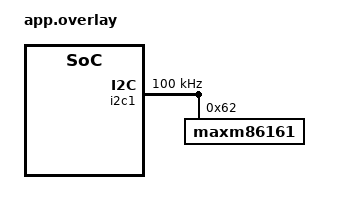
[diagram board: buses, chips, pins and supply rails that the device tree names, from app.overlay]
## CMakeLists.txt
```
cmake_minimum_required(VERSION 3.20.0)
find_package(Zephyr REQUIRED HINTS $ENV{ZEPHYR_BASE})
project(maxm86161a_communication_test)
target_sources(app PRIVATE src/main.cpp)
```

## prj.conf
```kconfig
CONFIG_CPP=y
CONFIG_I2C=y
CONFIG_SERIAL=y
CONFIG_CONSOLE=y
CONFIG_UART_CONSOLE=y
CONFIG_PRINTK=y
CONFIG_UART_LINE_CTRL=y

# USB console: nRF Connect SDK v3.4.0 / XIAO BLE board defaults.
CONFIG_USB_DEVICE_STACK_NEXT=y
CONFIG_CDC_ACM_SERIAL_INITIALIZE_AT_BOOT=y
CONFIG_BUILD_OUTPUT_UF2=y
```

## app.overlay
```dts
#include <zephyr/dt-bindings/i2c/i2c.h>

/* XIAO header: D4/SDA = P0.04, D5/SCL = P0.05.
 * The board supplies i2c1 pinctrl; no custom sensor driver is needed.
 */
&i2c1 {
    status = "okay";
    clock-frequency = <I2C_BITRATE_STANDARD>;

    maxm86161: maxm86161@62 {
        reg = <0x62>;
        status = "okay";
    };
};
```

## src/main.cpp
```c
#include <stdint.h>
#include <zephyr/kernel.h>
#include <zephyr/device.h>
#include <zephyr/drivers/i2c.h>
#include <zephyr/drivers/uart.h>
#include <zephyr/sys/printk.h>

static const struct i2c_dt_spec sensor = I2C_DT_SPEC_GET(DT_NODELABEL(maxm86161));

int main(void)
{

    const struct device *console = DEVICE_DT_GET(DT_CHOSEN(zephyr_console));
    if (!device_is_ready(console)) {
        return 0;
    }

    uint32_t dtr = 0;
    while (dtr == 0) {
        int ret = uart_line_ctrl_get(console, UART_LINE_CTRL_DTR, &dtr);
        if (ret != 0) {
            break;
        }
        k_msleep(100);
    }
    k_msleep(200);

    printk("\nMAXM86161A communication test\n");
    printk("Bus: %s; device address: 0x%02x\n",
           sensor.bus->name, (unsigned int)sensor.addr);

    if (!i2c_is_ready_dt(&sensor)) {
        printk("FAIL: Nordic I2C controller is not ready\n");
        return 0;
    }

    printk("I2C controller ready; reading PART_ID register 0xFF\n");

    while (true) {
        uint8_t part_id = 0;
        int ret = i2c_reg_read_byte_dt(&sensor, 0xFF, &part_id);

        if (ret != 0) {
            printk("FAIL: read at 0x62 failed; error=%d\n", ret);
        } else if (part_id == 0x36) {
            printk("PASS: I2C read succeeded; PART_ID=0x36 (expected)\n");
        } else {
            printk("MISMATCH: I2C read succeeded; PART_ID=0x%02x; expected 0x36\n",
                   (unsigned int)part_id);
        }
        k_msleep(2000);
    }
}
```

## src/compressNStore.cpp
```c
#include <vector>
#include <cmath>
#include <cstdint>
#include <cstring>

#include "compressNStore.hpp"

#include <zephyr/device.h>
#include <zephyr/drivers/flash.h>

#define FLASH_NODE DT_NODELABEL(p25q16h)

/* ===== USER INPUTS ===== */
const int NUM_DECIMALS = 3;
const int ZERO_TOL = 0.01;
const int BUFFER_SIZE = 512;
/* =======================*/

std::vector<int16_t> compressDataRow(std::vector<double> data) {
    std::vector<int16_t> newData(data.size());
    for (int i = 0; i < data.size(); i++) {
        if (data[i] <= ZERO_TOL) {newData[i] = 0;}
        newData[i] = (int16_t) (data[i] * pow(10, NUM_DECIMALS));
    }
    return newData;
}

// int16_t[dynamic] zeroRunLengthEncoding(std::vectpr<int> data) {
    
// }

uint16_t zigzag(int16_t num) {
    if (num < 0) return (uint16_t)(-2 * num - 1);
    else return (uint16_t)(2 * num);
}

std::vector<uint16_t> differenceEncoding(std::vector<int16_t> data) {
    // Difference encoding - worth doing?
    std::vector<uint16_t> newData(data.size());
    newData[0] = zigzag(data[0]);
    for (int i = 1; i < BUFFER_SIZE; i++) {
        newData[i] = zigzag(data[i] - data[i-1]);
        // newData[i] = zigzag(data[i]);
    }
    return newData;
}

int compressDataCol(std::vector<int16_t> data) {
    std::vector<uint16_t> encData = differenceEncoding(data);

    int pos = 0;
    uint8_t buffer[BUFFER_SIZE];
    bool cont = false;
    uint16_t d;
    int storedBlocks = 0;

    for (int i = 0; i < encData.size(); i++) {
        d = data[i];
        if ((d >> 7) > 0) cont = true;
        if ((d >= 32768 && pos == BUFFER_SIZE - 2) || (d >= 128 && pos == BUFFER_SIZE - 1)) {
            cont = false;
            pos = BUFFER_SIZE;
        }
        while (cont) {
            buffer[pos] = (d & ((1 << 7) - 1)) + pow(2,7);
            pos++;
            d = d >> 7;
            if (d <= 0) break;
        }
        if (pos == BUFFER_SIZE) {
            // Store data
            storedBlocks++;
            pos = 0;
            memset(buffer, 0, sizeof(buffer));
        }
    }   

    int totalBytes = (storedBlocks * BUFFER_SIZE) + pos;
    return totalBytes;
}

static const struct device *flash_dev = DEVICE_DT_GET(FLASH_NODE);
static uint32_t flash_addr = 0;

void save_data(uint8_t buffer[BUFFER_SIZE])
{
    flash_write(flash_dev, flash_addr, buffer, BUFFER_SIZE);
    flash_addr += BUFFER_SIZE;
}
```

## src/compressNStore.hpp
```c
#pragma once

std::vector<int16_t> compressDataRow(std::vector<double> data);
uint16_t zigzag(int16_t num);
std::vector<uint16_t> differenceEncoding(std::vector<int16_t> data);
int compressDataCol(std::vector<int16_t> data);
void storeData();
```

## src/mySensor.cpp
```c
#include "mySensor.hpp"

#include <zephyr/device.h>
#include <zephyr/devicetree.h>
#include <zephyr/drivers/sensor.h>
#include <zephyr/drivers/i2c.h>

std::vector<MySensor*> MySensor::sensorList;

void NordBoardInternal::readData() {   
    struct sensor_value odr;
        odr.val1 = 104;
        odr.val2 = 0;

    sensor_attr_set(imu, SENSOR_CHAN_ACCEL_XYZ,
                    SENSOR_ATTR_SAMPLING_FREQUENCY, &odr);

    sensor_attr_set(imu, SENSOR_CHAN_GYRO_XYZ,
                    SENSOR_ATTR_SAMPLING_FREQUENCY, &odr);
    
    sensor_sample_fetch(imu);
    sensor_channel_get(imu, SENSOR_CHAN_ACCEL_XYZ, accel);
    sensor_channel_get(imu, SENSOR_CHAN_GYRO_XYZ, gyro);

    setData(
        sensor_value_to_double(&accel[0]),
        sensor_value_to_double(&accel[1]),
        sensor_value_to_double(&accel[2]),
        sensor_value_to_double(&gyro[0]),
        sensor_value_to_double(&gyro[1]),
        sensor_value_to_double(&gyro[2])
    );

    gravRemover();
}
void NordBoardInternal::gravRemover() {
    gravity[0] = a * accel_x + (1-a) * gravity[0];
    gravity[1] = a * accel_y + (1-a) * gravity[1];
    gravity[2] = a * accel_z + (1-a) * gravity[2];

    double newAx = accel_x - gravity[0];
    double newAy = accel_y - gravity[1];
    double newAz = accel_z - gravity[2];

    setData(newAx, newAy, newAz, gyro_x, gyro_y, gyro_z);
}
void I2CDevice::readRawData() {
    const struct device* bus = DEVICE_DT_GET(DT_NODELABEL(i2c0));
    i2c_burst_read(bus, address, reg, data, numBytes);
}

/*
void PPGSensor::readData() {
    readRawData();
    // idk yet work harder archit
}
*/
```

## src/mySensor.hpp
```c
#pragma once

#include <vector>
#include <cstdint>

#include <zephyr/device.h>
#include <zephyr/devicetree.h>
#include <zephyr/drivers/sensor.h>
#include <zephyr/drivers/i2c.h>

class MySensor {
protected:
    static std::vector<MySensor*> sensorList;

public:
    MySensor() {
        sensorList.push_back(this);
    }
};

class NordBoardInternal : public MySensor {
public:
    double accel_x;
    double accel_y;
    double accel_z;

    double gyro_x;
    double gyro_y;
    double gyro_z;

    // For gravity filtering
    double a = 0.1;
    double gravity[3] = {0, 0, 0}; 

    NordBoardInternal() : MySensor(),
        accel_x(1), accel_y(0), accel_z(0),
        gyro_x(0), gyro_y(0), gyro_z(0) {
            imu = DEVICE_DT_GET_ONE(st_lsm6dsl);
        }

    void setData(double ax, double ay, double az,
                 double gx, double gy, double gz) {
        accel_x = ax;
        accel_y = ay;
        accel_z = az;
        gyro_x = gx;
        gyro_y = gy;
        gyro_z = gz;
    }


    void readData();
    void gravRemover();
private:
    const struct device* imu;
    struct sensor_value accel[3];
    struct sensor_value gyro[3];    
};

class I2CDevice : public MySensor {
protected:
    int address;
    uint8_t reg;
    uint8_t numBytes;
    uint8_t* data;

public:
    I2CDevice(int addr, uint8_t regAddr, uint8_t bytesToRead)
        : MySensor(), address(addr), reg(regAddr), numBytes(bytesToRead) {
        data = new uint8_t[numBytes];
    }

    ~I2CDevice() {
        delete[] data;
    }

    void readRawData();
};

class PPGSensor : public I2CDevice {
public:
    uint32_t sample1;
    uint32_t sample2;

    PPGSensor(int addr, uint8_t regAddr, uint8_t bytesToRead)
        : I2CDevice(addr, regAddr, bytesToRead), sample1(0), sample2(0) {
    }

    // void readData();
};
```
